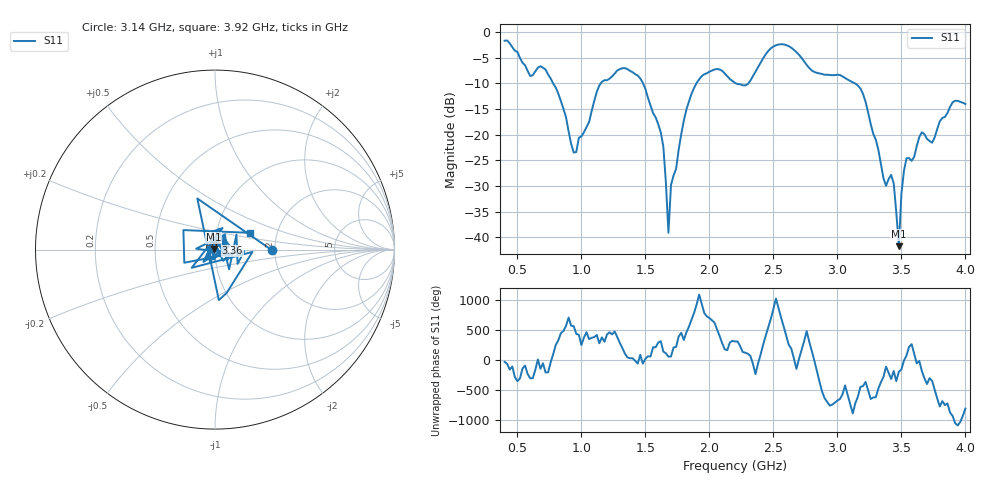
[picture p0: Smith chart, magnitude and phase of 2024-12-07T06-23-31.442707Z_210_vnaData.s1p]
!Created with skrf (http://scikit-rf.org).
# Hz S RI R 50.0
!freq ReS11 ImS11
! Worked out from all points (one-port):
!   181 points, 400 MHz to 4 GHz, reference 50 ohm
!   lowest |S11| = -41.7 dB at 3.48 GHz (marker M1), VSWR 1.02, Z = 49.2 + j0.201 ohm
!   |S11| at or under -10 dB: 779.4 MHz to 1.151 GHz (371.9 MHz wide, 38.5 % of centre); 1.482 GHz to 1.898 GHz (416.5 MHz wide, 24.6 % of centre); 3.137 GHz to end of sweep (the widest 3 of 4)
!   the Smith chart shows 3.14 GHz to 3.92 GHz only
!   S11 on the Smith chart (normalised r, x): 3.14 GHz: 1.92, -0.01; 3.36 GHz: 1.01, +0.07; 3.92 GHz: 1.44, +0.28
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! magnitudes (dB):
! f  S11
! 400 MHz  -1.7
! 600 MHz  -8.6
! 720 MHz  -7.3
! 860 MHz  -15.0
! 960 MHz  -23.4
! 1.14 GHz  -10.4
! 1.3 GHz  -7.2
! 1.46 GHz  -9.0
! 1.62 GHz  -19.5
! 1.64 GHz  -22.3
! 1.68 GHz  -39.1
! 1.7 GHz  -29.8
! 1.76 GHz  -22.9
! 1.82 GHz  -15.1
! 1.94 GHz  -8.6
! 2.2 GHz  -9.9
! 2.5 GHz  -2.8
! 2.66 GHz  -3.5
! 3.1 GHz  -9.5
! 3.14 GHz  -10.0
! 3.22 GHz  -13.6
! 3.36 GHz  -28.5
! 3.44 GHz  -29.5
! 3.48 GHz  -41.7
! 3.52 GHz  -27.0
! 3.56 GHz  -24.6
! 3.92 GHz  -13.4
! 4 GHz  -14.0
